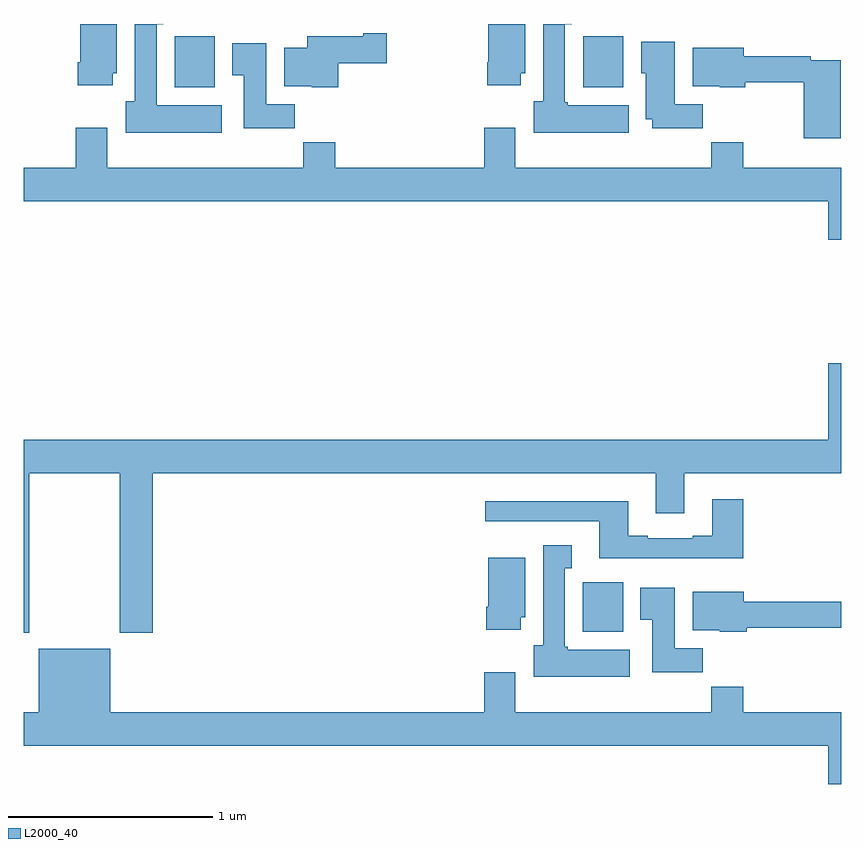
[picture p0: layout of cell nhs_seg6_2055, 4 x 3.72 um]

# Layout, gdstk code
import gdstk
lib = gdstk.Library(unit=1e-6, precision=1e-09)
def R(c, l, rs):  # rectangles x0, y0, x1, y1
    for r in rs: c.add(gdstk.rectangle(r[:2], r[2:], *l))
def P(c, l, *ps):  # polygons
    for p in ps: c.add(gdstk.Polygon(p, *l))
L2000_40 = (2000, 40)

nhs_seg6_2055 = lib.new_cell('nhs_seg6_2055')
R(nhs_seg6_2055, L2000_40, [(235.736,982.526,235.933,982.768), (233.739,985.19,233.935,985.44), (235.737,985.19,235.933,985.44)])
P(nhs_seg6_2055, L2000_40, [(233.968,985.102),(233.65,985.102),(233.65,985.499),(233.683,985.499),(233.683,985.5),(233.543,985.5),(233.543,985.122),(233.498,985.122),(233.498,984.968),(233.968,984.968)],
  [(233.434,985.26),(233.455,985.26),(233.455,985.5),(233.276,985.5),(233.276,985.312),(233.264,985.312),(233.264,985.2),(233.434,985.2)],
  [(235.432,985.26),(235.453,985.26),(235.453,985.5),(235.274,985.5),(235.274,985.312),(235.267,985.312),(235.267,985.2),(235.432,985.2)],
  [(235.96,985.102),(235.662,985.102),(235.662,985.116),(235.648,985.116),(235.648,985.499),(235.681,985.499),(235.681,985.5),(235.541,985.5),(235.541,985.122),(235.496,985.122),(235.496,984.968),(235.96,984.968)],
  [(234.539,985.307),(234.775,985.307),(234.775,985.454),(234.662,985.454),(234.662,985.441),(234.386,985.441),(234.386,985.384),(234.275,985.384),(234.275,985.196),(234.408,985.196),(234.408,985.19),(234.539,985.19)],
  [(236.324,985.108),(236.185,985.108),(236.185,985.414),(236.021,985.414),(236.021,985.26),(236.045,985.26),(236.045,985.034),(236.075,985.034),(236.075,984.99),(236.324,984.99)],
  [(234.326,985.108),(234.187,985.108),(234.187,985.405),(234.02,985.405),(234.02,985.249),(234.077,985.249),(234.077,984.99),(234.326,984.99)],
  [(236.999,985.323),(236.852,985.323),(236.852,985.343),(236.524,985.343),(236.524,985.384),(236.273,985.384),(236.273,985.196),(236.406,985.196),(236.406,985.19),(236.532,985.19),(236.532,985.215),(236.816,985.215),(236.816,984.942),(236.999,984.942)],
  [(237,984.796),(236.522,984.796),(236.522,984.92),(236.365,984.92),(236.365,984.796),(235.405,984.796),(235.405,984.991),(235.253,984.991),(235.253,984.796),(234.524,984.796),(234.524,984.92),(234.367,984.92),(234.367,984.796),(233.407,984.796),(233.407,984.991),(233.255,984.991),(233.255,984.796),(233,984.796),(233,984.632),(236.936,984.632),(236.936,984.444),(237,984.444)],
  [(233.025,983.3),(233.47,983.3),(233.47,982.521),(233.63,982.521),(233.63,983.3),(236.093,983.3),(236.093,983.106),(236.233,983.106),(236.233,983.3),(237,983.3),(237,983.839),(236.936,983.839),(236.936,983.464),(233,983.464),(233,982.521),(233.025,982.521)],
  [(236.522,983.173),(236.369,983.173),(236.369,982.996),(236.273,982.996),(236.273,982.983),(236.053,982.983),(236.053,982.996),(235.957,982.996),(235.957,983.164),(235.257,983.164),(235.257,983.067),(235.817,983.067),(235.817,982.886),(236.522,982.886)],
  [(235.966,982.438),(235.662,982.438),(235.662,982.452),(235.648,982.452),(235.648,982.835),(235.681,982.835),(235.681,982.948),(235.541,982.948),(235.541,982.458),(235.496,982.458),(235.496,982.304),(235.966,982.304)],
  [(235.432,982.596),(235.453,982.596),(235.453,982.888),(235.274,982.888),(235.274,982.648),(235.262,982.648),(235.262,982.536),(235.432,982.536)],
  [(236.324,982.444),(236.185,982.444),(236.185,982.741),(236.018,982.741),(236.018,982.585),(236.075,982.585),(236.075,982.326),(236.324,982.326)],
  [(236.537,982.545),(237,982.545),(237,982.673),(236.524,982.673),(236.524,982.72),(236.273,982.72),(236.273,982.532),(236.406,982.532),(236.406,982.526),(236.537,982.526)],
  [(237,982.132),(236.522,982.132),(236.522,982.256),(236.365,982.256),(236.365,982.132),(235.405,982.132),(235.405,982.327),(235.253,982.327),(235.253,982.132),(233.422,982.132),(233.422,982.441),(233.072,982.441),(233.072,982.132),(233,982.132),(233,981.968),(236.936,981.968),(236.936,981.78),(237,981.78)])

lib.write_gds('nhs_seg6_2055.gds')
